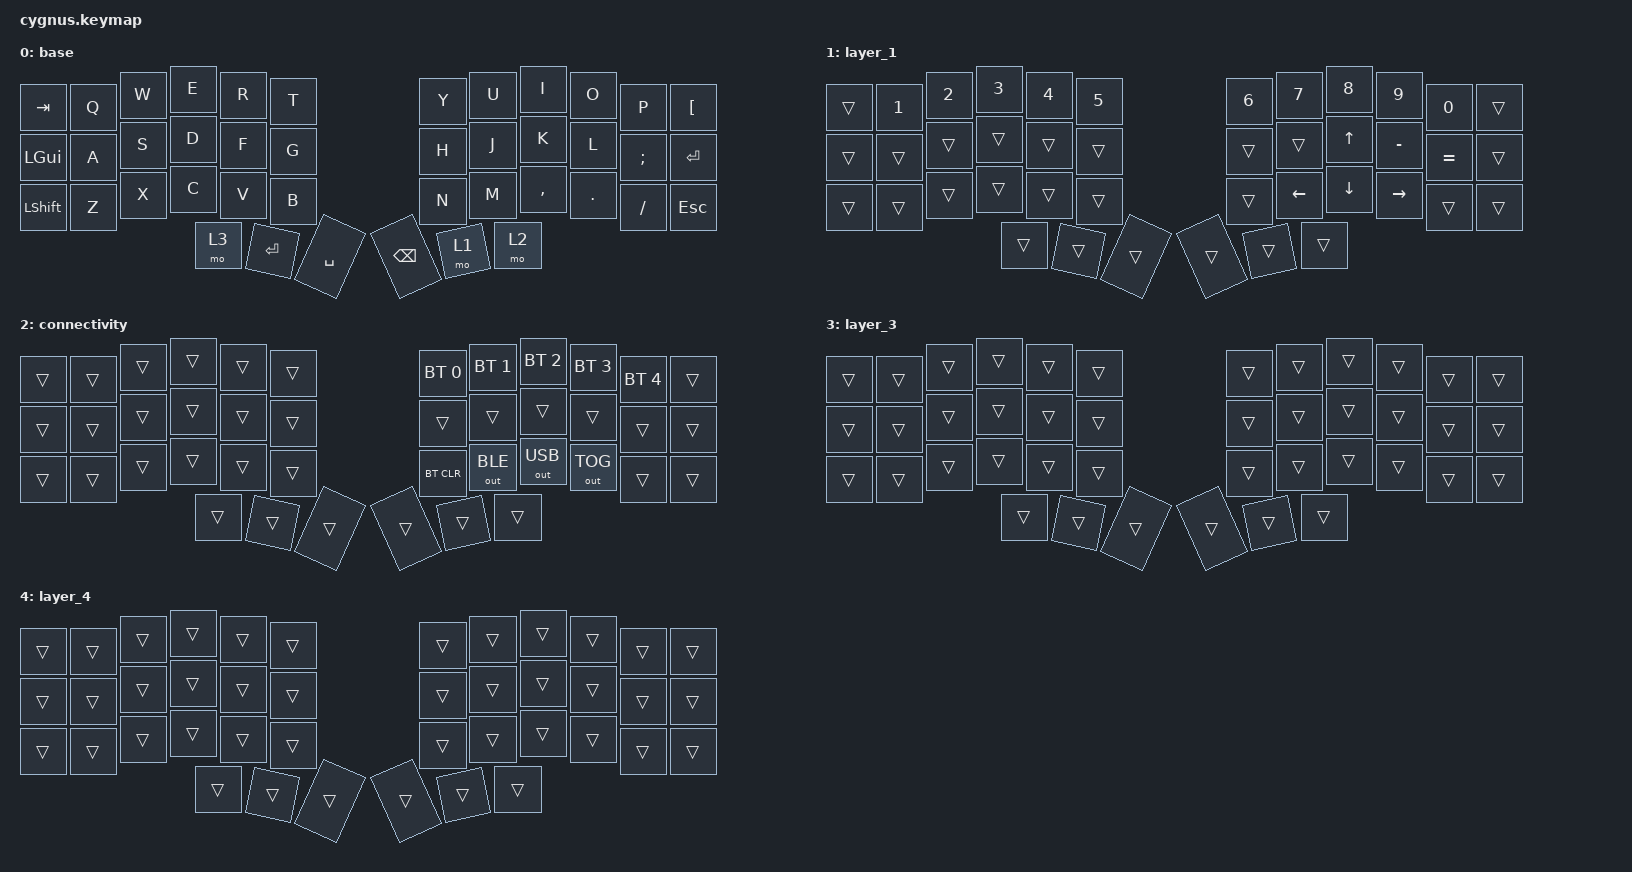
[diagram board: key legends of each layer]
/*
 * Copyright (c) 2020 The ZMK Contributors
 *
 * SPDX-License-Identifier: MIT
 */

#include <behaviors.dtsi>
#include <dt-bindings/zmk/bt.h>
#include <dt-bindings/zmk/keys.h>
#include <dt-bindings/zmk/outputs.h>

/ {
    combos { compatible = "zmk,combos"; };

    keymap {
        compatible = "zmk,keymap";

        base {
            bindings = <
&kp TAB         &kp Q  &kp W  &kp E  &kp R      &kp T      &kp Y          &kp U  &kp I      &kp O       &kp P          &kp LEFT_BRACKET
&kp LEFT_GUI    &kp A  &kp S  &kp D  &kp F      &kp G      &kp H          &kp J  &kp K      &kp L       &kp SEMICOLON  &kp ENTER
&kp LEFT_SHIFT  &kp Z  &kp X  &kp C  &kp V      &kp B      &kp N          &kp M  &kp COMMA  &kp PERIOD  &kp SLASH      &kp ESC
                              &mo 3  &kp ENTER  &kp SPACE  &kp BACKSPACE  &mo 1  &mo 2
            >;
        };

        layer_1 {
            bindings = <
&trans  &kp N1  &kp N2  &kp N3  &kp N4  &kp N5  &kp N6  &kp N7    &kp N8    &kp N9     &kp N0     &trans
&trans  &trans  &trans  &trans  &trans  &trans  &trans  &trans    &kp UP    &kp MINUS  &kp EQUAL  &trans
&trans  &trans  &trans  &trans  &trans  &trans  &trans  &kp LEFT  &kp DOWN  &kp RIGHT  &trans     &trans
                        &trans  &trans  &trans  &trans  &trans    &trans
            >;
        };

        connectivity {
            bindings = <
&trans  &trans  &trans  &trans  &trans  &trans  &bt BT_SEL 0  &bt BT_SEL 1  &bt BT_SEL 2  &bt BT_SEL 3  &bt BT_SEL 4  &trans
&trans  &trans  &trans  &trans  &trans  &trans  &trans        &trans        &trans        &trans        &trans        &trans
&trans  &trans  &trans  &trans  &trans  &trans  &bt BT_CLR    &out OUT_BLE  &out OUT_USB  &out OUT_TOG  &trans        &trans
                        &trans  &trans  &trans  &trans        &trans        &trans
            >;
        };

        layer_3 {
            bindings = <
&trans  &trans  &trans  &trans  &trans  &trans  &trans  &trans  &trans  &trans  &trans  &trans
&trans  &trans  &trans  &trans  &trans  &trans  &trans  &trans  &trans  &trans  &trans  &trans
&trans  &trans  &trans  &trans  &trans  &trans  &trans  &trans  &trans  &trans  &trans  &trans
                        &trans  &trans  &trans  &trans  &trans  &trans
            >;
        };

        layer_4 {
            bindings = <
&trans  &trans  &trans  &trans  &trans  &trans  &trans  &trans  &trans  &trans  &trans  &trans
&trans  &trans  &trans  &trans  &trans  &trans  &trans  &trans  &trans  &trans  &trans  &trans
&trans  &trans  &trans  &trans  &trans  &trans  &trans  &trans  &trans  &trans  &trans  &trans
                        &trans  &trans  &trans  &trans  &trans  &trans
            >;
        };
    };
};
